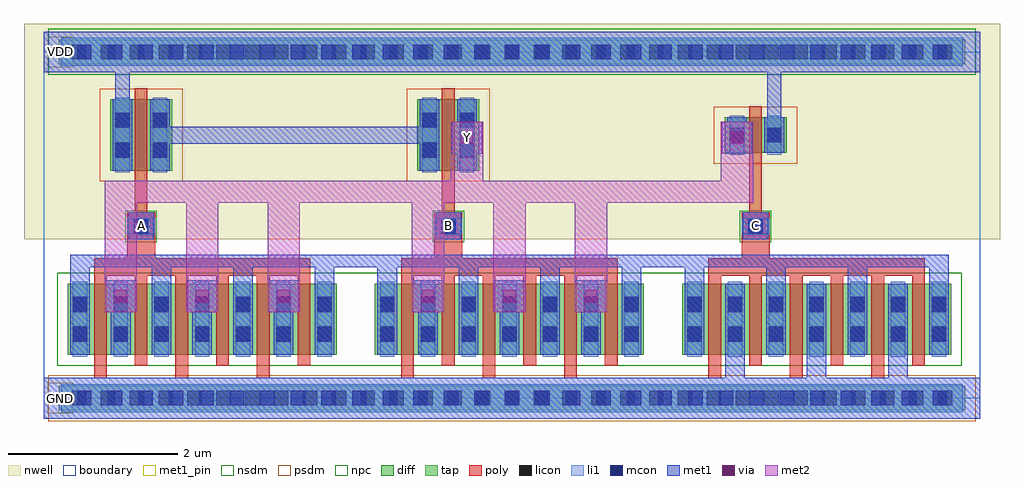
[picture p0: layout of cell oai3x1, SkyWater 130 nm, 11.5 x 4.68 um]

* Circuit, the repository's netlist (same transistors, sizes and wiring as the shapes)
** sch_path: /foss/designs/oai3x1.sch
.subckt oai3x1 VDD GND A B C Y
*.PININFO VDD:B GND:B A:I B:I C:I Y:O
XM2 net2 A VDD VDD sky130_fd_pr__pfet_01v8 L=0.15 W=0.84 nf=1
XM3 Y C VDD VDD sky130_fd_pr__pfet_01v8 L=0.15 W=0.42 nf=1
XM4 Y A net1 GND sky130_fd_pr__nfet_01v8 L=0.15 W=5.04 nf=6
XM1 Y B net2 VDD sky130_fd_pr__pfet_01v8 L=0.15 W=0.84 nf=1
XM6 net1 C GND GND sky130_fd_pr__nfet_01v8 L=0.15 W=5.04 nf=6
XM5 Y B net1 GND sky130_fd_pr__nfet_01v8 L=0.15 W=5.04 nf=6
.ends

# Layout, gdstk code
import gdstk
lib = gdstk.Library(unit=1e-6, precision=1e-09)
def R(c, l, rs):  # rectangles x0, y0, x1, y1
    for r in rs: c.add(gdstk.rectangle(r[:2], r[2:], *l))
def A(c, l, x, y, w, h, nx, ny, dx, dy):  # array of equal rectangles
    R(c, l, [(x+i*dx, y+j*dy, x+i*dx+w, y+j*dy+h) for i in range(nx) for j in range(ny)])
nwell = (64, 20)
diff = (65, 20)
tap = (65, 44)
poly = (66, 20)
licon = (66, 44)
li1 = (67, 20)
mcon = (67, 44)
met1_pin = (68, 16)
met1 = (68, 20)
via = (68, 44)
met2 = (69, 20)
nsdm = (93, 44)
psdm = (94, 20)
npc = (95, 20)
boundary = (235, 4)

sky130_fd_pr__pfet_01v8_ = lib.new_cell('sky130_fd_pr__pfet_01v8_YNU6YZ')
R(sky130_fd_pr__pfet_01v8_, nwell, [(-0.545,-0.52,0.545,0.52)])
R(sky130_fd_pr__pfet_01v8_, diff, [(-0.365,-0.21,0.365,0.21)])
R(sky130_fd_pr__pfet_01v8_, poly, [(-0.075,-0.34,0.075,0.34)])
R(sky130_fd_pr__pfet_01v8_, licon, [(-0.305,-0.085,-0.135,0.085), (0.135,-0.085,0.305,0.085)])
R(sky130_fd_pr__pfet_01v8_, li1, [(-0.305,-0.23,-0.135,0.23), (0.135,-0.23,0.305,0.23)])
R(sky130_fd_pr__pfet_01v8_, mcon, [(-0.305,-0.085,-0.135,0.085), (0.135,-0.085,0.305,0.085)])
R(sky130_fd_pr__pfet_01v8_, met1, [(-0.335,-0.21,-0.105,0.21), (0.105,-0.21,0.335,0.21)])
R(sky130_fd_pr__pfet_01v8_, psdm, [(-0.49,-0.335,0.49,0.335)])
sky130_fd_pr__pfet_01v8_.add(gdstk.Label('D', (-0.22,0), layer=67, texttype=5))
sky130_fd_pr__pfet_01v8_.add(gdstk.Label('S', (0.22,0), layer=67, texttype=5))

c_sky130_fd_pr__pfet_01v8_ = lib.new_cell('sky130_fd_pr__pfet_01v8_W5J8BK')
R(c_sky130_fd_pr__pfet_01v8_, nwell, [(-0.545,-0.73,0.545,0.73)])
R(c_sky130_fd_pr__pfet_01v8_, diff, [(-0.365,-0.42,0.365,0.42)])
R(c_sky130_fd_pr__pfet_01v8_, poly, [(-0.075,-0.55,0.075,0.55)])
R(c_sky130_fd_pr__pfet_01v8_, licon, [(-0.305,-0.255,-0.135,-0.085), (0.135,-0.255,0.305,-0.085), (-0.305,0.085,-0.135,0.255), (0.135,0.085,0.305,0.255)])
R(c_sky130_fd_pr__pfet_01v8_, li1, [(-0.305,-0.44,-0.135,0.44), (0.135,-0.44,0.305,0.44)])
R(c_sky130_fd_pr__pfet_01v8_, mcon, [(-0.305,-0.265,-0.135,-0.095), (0.135,-0.265,0.305,-0.095), (-0.305,0.095,-0.135,0.265), (0.135,0.095,0.305,0.265)])
R(c_sky130_fd_pr__pfet_01v8_, met1, [(-0.335,-0.42,-0.105,0.42), (0.105,-0.42,0.335,0.42)])
R(c_sky130_fd_pr__pfet_01v8_, psdm, [(-0.49,-0.545,0.49,0.545)])
c_sky130_fd_pr__pfet_01v8_.add(gdstk.Label('D', (-0.22,0), layer=67, texttype=5))
c_sky130_fd_pr__pfet_01v8_.add(gdstk.Label('S', (0.22,0), layer=67, texttype=5))

sky130_fd_pr__nfet_01v8_ = lib.new_cell('sky130_fd_pr__nfet_01v8_6WXBLA')
R(sky130_fd_pr__nfet_01v8_, diff, [(-1.585,-0.42,1.585,0.42)])
A(sky130_fd_pr__nfet_01v8_, poly, -1.275, -0.695, 0.15, 1.245, 3, 1, 0.96, 0)
A(sky130_fd_pr__nfet_01v8_, poly, -0.795, -0.55, 0.15, 1.245, 3, 1, 0.96, 0)
A(sky130_fd_pr__nfet_01v8_, licon, -1.525, -0.255, 0.17, 0.17, 7, 2, 0.48, 0.34)
A(sky130_fd_pr__nfet_01v8_, li1, -1.525, -0.44, 0.17, 0.88, 7, 1, 0.48, 0)
A(sky130_fd_pr__nfet_01v8_, mcon, -1.525, -0.265, 0.17, 0.17, 7, 2, 0.48, 0.36)
A(sky130_fd_pr__nfet_01v8_, met1, -1.555, -0.42, 0.23, 0.84, 7, 1, 0.48, 0)
R(sky130_fd_pr__nfet_01v8_, nsdm, [(-1.71,-0.545,1.71,0.545)])
sky130_fd_pr__nfet_01v8_.add(gdstk.Label('D0', (-1.44,0), layer=67, texttype=5))
sky130_fd_pr__nfet_01v8_.add(gdstk.Label('S1', (-0.96,0), layer=67, texttype=5))
sky130_fd_pr__nfet_01v8_.add(gdstk.Label('D2', (-0.48,0), layer=67, texttype=5))
sky130_fd_pr__nfet_01v8_.add(gdstk.Label('S3', (0,0), layer=67, texttype=5))
sky130_fd_pr__nfet_01v8_.add(gdstk.Label('D4', (0.48,0), layer=67, texttype=5))
sky130_fd_pr__nfet_01v8_.add(gdstk.Label('S5', (0.96,0), layer=67, texttype=5))

oai3x1 = lib.new_cell('oai3x1')
R(oai3x1, nwell, [(-0.23,1.87,11.27,4.41)])
R(oai3x1, tap, [(0.18,-0.145,10.86,0.145), (0.18,3.935,10.86,4.225)])
A(oai3x1, poly, 0.595, 1.44, 2.55, 0.21, 3, 1, 3.62, 0)
A(oai3x1, poly, 0.985, 1.65, 0.33, 0.54, 3, 1, 3.62, 0)
R(oai3x1, poly, [(1.075,2.19,1.225,2.8), (4.695,2.19,4.845,2.8), (8.315,2.19,8.465,2.95)])
A(oai3x1, licon, 0.335, -0.085, 0.17, 0.17, 31, 2, 0.34, 4.08)
A(oai3x1, licon, 1.065, 1.94, 0.17, 0.17, 3, 1, 3.62, 0)
A(oai3x1, li1, 0.985, 1.93, 0.33, 0.19, 3, 1, 3.62, 0)
R(oai3x1, li1, [(0.21,-0.165,10.83,0.165), (0.21,3.915,10.83,4.245)])
A(oai3x1, mcon, 0.395, -0.085, 0.17, 0.17, 29, 2, 0.36, 4.08)
A(oai3x1, mcon, 1.065, 1.94, 0.17, 0.17, 3, 1, 3.62, 0)
A(oai3x1, met1_pin, 1, 1.87, 0.3, 0.32, 3, 1, 3.62, 0)
R(oai3x1, met1_pin, [(0.05,-0.18,0.35,0.18), (4.81,2.88,5.17,3.26), (0.05,3.9,0.35,4.26)])
A(oai3x1, met1, 8.035, 0.24, 0.23, 0.36, 3, 1, 0.96, 0)
A(oai3x1, met1, 0.72, 1.01, 0.38, 0.38, 3, 1, 0.96, 0)
A(oai3x1, met1, 4.34, 1.01, 0.38, 0.38, 3, 1, 0.96, 0)
A(oai3x1, met1, 0.315, 1.25, 0.23, 0.29, 4, 1, 0.96, 0)
A(oai3x1, met1, 3.935, 1.25, 0.23, 0.29, 4, 1, 0.96, 0)
A(oai3x1, met1, 7.555, 1.25, 0.23, 0.29, 4, 1, 0.96, 0)
A(oai3x1, met1, 1, 1.87, 0.3, 0.32, 3, 1, 3.62, 0)
R(oai3x1, met1, [(0,-0.24,11.04,0.24), (0.315,1.54,10.665,1.69), (4.81,2.88,5.17,3.26), (7.99,2.88,8.35,3.26), (1.255,3,4.665,3.2), (8.525,3.25,8.695,3.84), (0.845,3.4,1.015,3.84), (0,3.84,11.04,4.32)])
A(oai3x1, via, 0.835, 1.125, 0.15, 0.15, 3, 1, 0.96, 0)
A(oai3x1, via, 4.455, 1.125, 0.15, 0.15, 3, 1, 0.96, 0)
R(oai3x1, via, [(4.915,2.995,5.065,3.145), (8.095,2.995,8.245,3.145)])
A(oai3x1, met2, 0.72, 1.01, 0.38, 1.29, 3, 1, 0.96, 0)
A(oai3x1, met2, 4.34, 1.01, 0.38, 1.29, 3, 1, 0.96, 0)
R(oai3x1, met2, [(0.72,2.3,8.36,2.56), (4.8,2.56,5.18,3.26), (7.98,2.56,8.36,3.26)])
R(oai3x1, nsdm, [(3.58,0.385,3.78,1.475), (7.2,0.385,7.4,1.475), (0.055,3.81,10.985,4.35)])
R(oai3x1, psdm, [(0.055,-0.27,10.985,0.27)])
A(oai3x1, npc, 0.965, 1.84, 0.37, 0.37, 3, 1, 3.62, 0)
R(oai3x1, boundary, [(0,0,11.04,4.08)])
oai3x1.add(gdstk.Reference(sky130_fd_pr__pfet_01v8_, (8.39,3.1)))
oai3x1.add(gdstk.Reference(c_sky130_fd_pr__pfet_01v8_, (1.15,3.1)))
oai3x1.add(gdstk.Reference(c_sky130_fd_pr__pfet_01v8_, (4.77,3.1)))
oai3x1.add(gdstk.Reference(sky130_fd_pr__nfet_01v8_, (9.11,0.93)))
oai3x1.add(gdstk.Reference(sky130_fd_pr__nfet_01v8_, (5.49,0.93)))
oai3x1.add(gdstk.Reference(sky130_fd_pr__nfet_01v8_, (1.87,0.93)))
oai3x1.add(gdstk.Label('A', (1.15,2.03), layer=68, texttype=5))
oai3x1.add(gdstk.Label('B', (4.77,2.03), layer=68, texttype=5))
oai3x1.add(gdstk.Label('C', (8.39,2.03), layer=68, texttype=5))
oai3x1.add(gdstk.Label('Y', (4.99,3.07), layer=68, texttype=5))
oai3x1.add(gdstk.Label('VDD', (0.2,4.08), layer=68, texttype=5))
oai3x1.add(gdstk.Label('GND', (0.2,0), layer=68, texttype=5))

lib.write_gds('oai3x1.gds')
